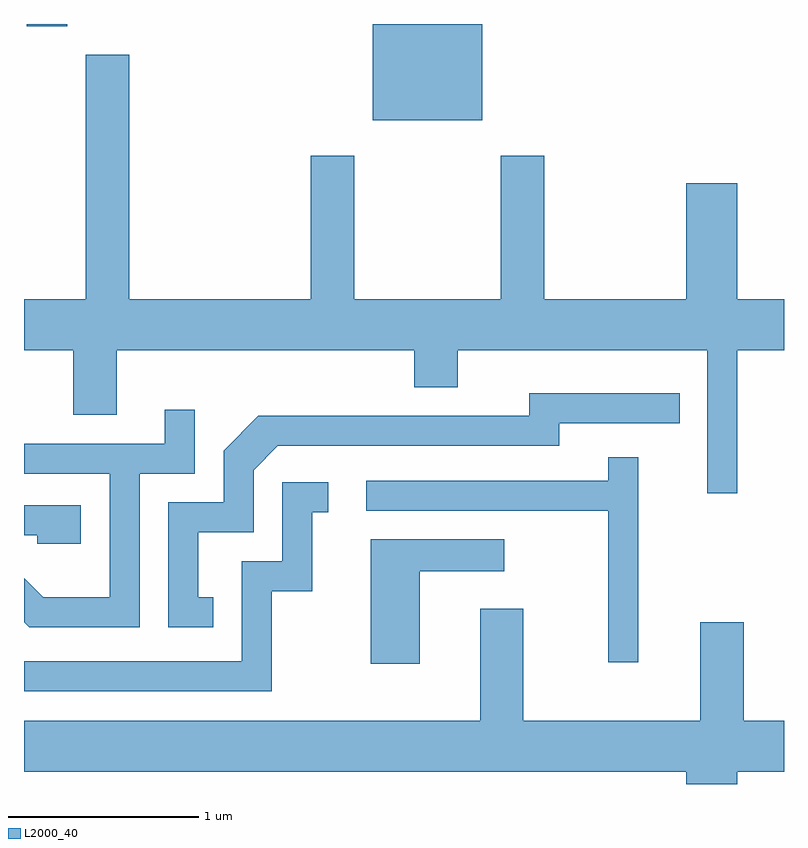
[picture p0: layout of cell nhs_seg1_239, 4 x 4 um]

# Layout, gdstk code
import gdstk
lib = gdstk.Library(unit=1e-6, precision=1e-09)
def R(c, l, rs):  # rectangles x0, y0, x1, y1
    for r in rs: c.add(gdstk.rectangle(r[:2], r[2:], *l))
def P(c, l, *ps):  # polygons
    for p in ps: c.add(gdstk.Polygon(p, *l))
L2000_40 = (2000, 40)

nhs_seg1_239 = lib.new_cell('nhs_seg1_239')
R(nhs_seg1_239, L2000_40, [(193.446,925.206,194.024,925.712), (191.626,925.701,191.839,925.712)])
P(nhs_seg1_239, L2000_40, [(195.364,923.996),(195.611,923.996),(195.611,924.264),(195.364,924.264),(195.364,924.874),(195.096,924.874),(195.096,924.264),(194.349,924.264),(194.349,925.019),(194.121,925.019),(194.121,924.264),(193.349,924.264),(193.349,925.019),(193.121,925.019),(193.121,924.264),(192.164,924.264),(192.164,925.549),(191.936,925.549),(191.936,924.264),(191.611,924.264),(191.611,923.996),(191.871,923.996),(191.871,923.656),(192.099,923.656),(192.099,923.996),(193.666,923.996),(193.666,923.801),(193.894,923.801),(193.894,923.996),(195.206,923.996),(195.206,923.243),(195.364,923.243)],
  [(192.608,922.694),(192.529,922.694),(192.529,923.036),(192.819,923.036),(192.819,923.364),(192.947,923.491),(194.429,923.491),(194.429,923.611),(195.063,923.611),(195.063,923.769),(194.271,923.769),(194.271,923.649),(192.844,923.649),(192.661,923.467),(192.661,923.194),(192.371,923.194),(192.371,922.536),(192.608,922.536)],
  [(192.219,923.346),(192.509,923.346),(192.509,923.683),(192.351,923.683),(192.351,923.504),(191.611,923.504),(191.611,923.346),(192.061,923.346),(192.061,922.694),(191.712,922.694),(191.611,922.795),(191.611,922.564),(191.639,922.536),(192.219,922.536)],
  [(194.844,923.433),(194.686,923.433),(194.686,923.309),(193.413,923.309),(193.413,923.151),(194.686,923.151),(194.686,922.353),(194.844,922.353)],
  [(192.914,922.726),(193.129,922.726),(193.129,923.141),(193.213,923.141),(193.213,923.299),(192.971,923.299),(192.971,922.884),(192.756,922.884),(192.756,922.359),(191.611,922.359),(191.611,922.201),(192.914,922.201)],
  [(191.909,923.179),(191.611,923.179),(191.611,923.021),(191.681,923.021),(191.681,922.976),(191.909,922.976)],
  [(193.694,922.831),(194.138,922.831),(194.138,922.999),(193.436,922.999),(193.436,922.346),(193.694,922.346)],
  [(195.364,921.776),(195.611,921.776),(195.611,922.044),(195.399,922.044),(195.399,922.564),(195.171,922.564),(195.171,922.044),(194.239,922.044),(194.239,922.634),(194.011,922.634),(194.011,922.044),(191.611,922.044),(191.611,921.776),(195.096,921.776),(195.096,921.712),(195.364,921.712)])

lib.write_gds('nhs_seg1_239.gds')
